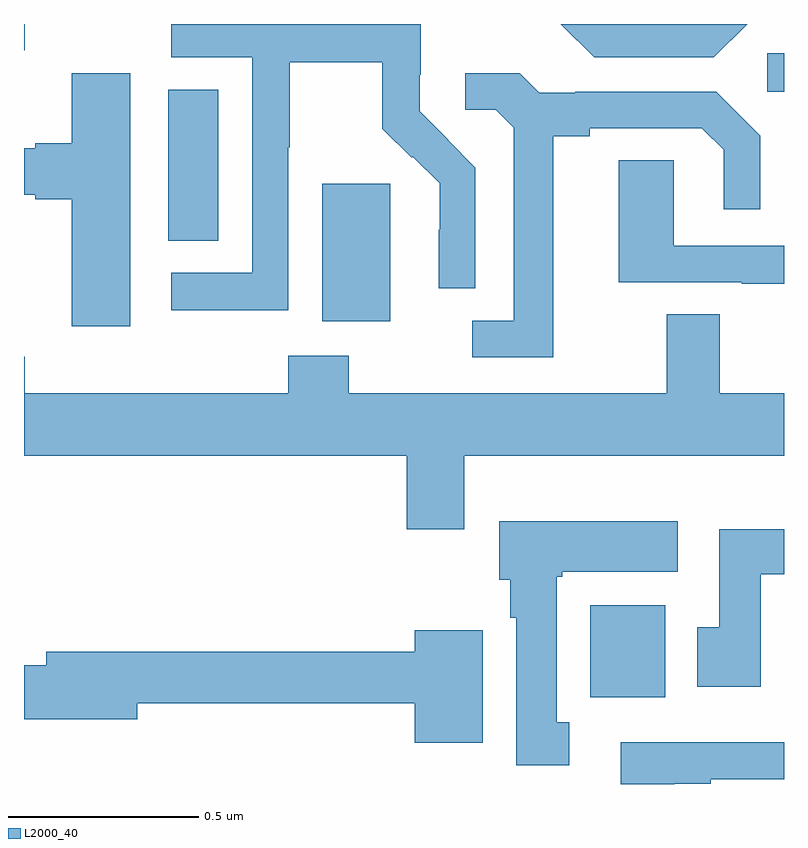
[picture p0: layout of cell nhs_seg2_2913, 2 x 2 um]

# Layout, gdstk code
import gdstk
lib = gdstk.Library(unit=1e-6, precision=1e-09)
def R(c, l, rs):  # rectangles x0, y0, x1, y1
    for r in rs: c.add(gdstk.rectangle(r[:2], r[2:], *l))
def P(c, l, *ps):  # polygons
    for p in ps: c.add(gdstk.Polygon(p, *l))
L2000_40 = (2000, 40)

nhs_seg2_2913 = lib.new_cell('nhs_seg2_2913')
R(nhs_seg2_2913, L2000_40, [(148.49,619.028,148.687,619.27), (147.785,620.018,147.964,620.379), (147.38,620.23,147.511,620.627), (148.956,620.622,149,620.723), (147,620.731,147.002,620.8)])
P(nhs_seg2_2913, L2000_40, [(147.696,620.476),(147.699,620.476),(147.699,620.7),(147.943,620.7),(147.943,620.525),(148.02,620.448),(148.023,620.451),(148.094,620.381),(148.094,620.258),(148.092,620.258),(148.092,620.104),(148.188,620.104),(148.188,620.422),(148.115,620.495),(148.116,620.496),(148.042,620.57),(148.042,620.667),(148.044,620.667),(148.044,620.8),(147.387,620.8),(147.387,620.712),(147.6,620.712),(147.6,620.145),(147.387,620.145),(147.387,620.047),(147.696,620.047)],
  [(148.903,620.8),(148.412,620.8),(148.5,620.712),(148.815,620.712)],
  [(148.393,620.504),(148.489,620.504),(148.489,620.526),(148.784,620.526),(148.841,620.469),(148.841,620.313),(148.938,620.313),(148.938,620.506),(148.822,620.622),(148.45,620.622),(148.45,620.619),(148.356,620.619),(148.304,620.671),(148.161,620.671),(148.161,620.574),(148.242,620.574),(148.289,620.527),(148.289,620.019),(148.179,620.019),(148.179,619.923),(148.393,619.923)],
  [(147.28,620.671),(147.125,620.671),(147.125,620.486),(147.029,620.486),(147.029,620.473),(147,620.473),(147,620.351),(147.029,620.351),(147.029,620.339),(147.125,620.339),(147.125,620.004),(147.28,620.004)],
  [(149,620.217),(148.71,620.217),(148.71,620.441),(148.565,620.441),(148.565,620.121),(148.889,620.121),(148.889,620.117),(149,620.117)],
  [(148.159,619.664),(149,619.664),(149,619.828),(148.831,619.828),(148.831,620.036),(148.691,620.036),(148.691,619.828),(147.855,619.828),(147.855,619.927),(147.695,619.927),(147.695,619.828),(147.002,619.828),(147.002,619.924),(147,619.924),(147,619.664),(148.007,619.664),(148.007,619.47),(148.159,619.47)],
  [(148.435,618.962),(148.402,618.962),(148.402,619.345),(148.416,619.345),(148.416,619.358),(148.72,619.358),(148.72,619.492),(148.25,619.492),(148.25,619.338),(148.28,619.338),(148.28,619.238),(148.295,619.238),(148.295,618.849),(148.435,618.849)],
  [(148.939,619.352),(149,619.352),(149,619.471),(148.829,619.471),(148.829,619.212),(148.772,619.212),(148.772,619.056),(148.939,619.056)],
  [(148.207,619.204),(148.028,619.204),(148.028,619.148),(147.059,619.148),(147.059,619.112),(147,619.112),(147,618.97),(147.298,618.97),(147.298,619.012),(148.028,619.012),(148.028,618.908),(148.207,618.908)],
  [(148.711,618.801),(148.807,618.801),(148.807,618.813),(149,618.813),(149,618.91),(148.571,618.91),(148.571,618.8),(148.711,618.8)])

lib.write_gds('nhs_seg2_2913.gds')
